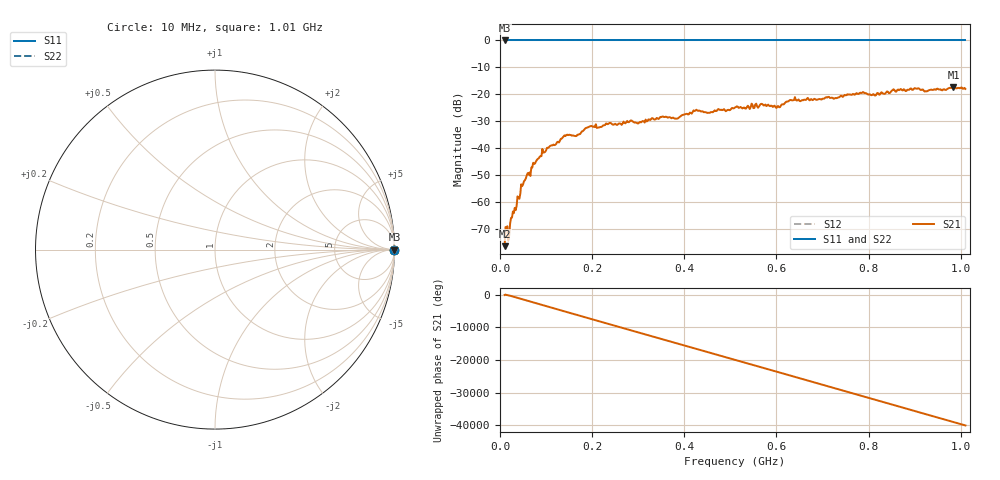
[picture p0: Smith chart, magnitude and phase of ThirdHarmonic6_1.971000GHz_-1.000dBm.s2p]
! 8/16/2025 11:42:51 PM
! C:\ANRITSUVNA\TEMP\TEMP.S2P
! CHANNEL.1
! TR.MEASUREMENT
! RAW.DATA
! RF.CORRECTION.OFF
! AVERAGING.OFF
! IF.BANDWIDTH: 5KHZ
! SWEEPTYPE:  FREQ.SWEEP(Linear)
! Reference Plane Port Info
! PORT:  PORT1  PORT2
! DISTANCE:  0  m  0  m
! TIME:  0  s  0  s
! PHASE.OFFSET:  0  deg.  0  deg.
! LOSS:  0  dB  0  dB
! REF.LOSS:  0  dB  0  dB
! REF.FREQ:  0  Hz  0  Hz
! Power Info
! POWER:  -20  dBm  -20  dBm
! EFF.POWER:  -20  dBm  -20  dBm
! SOURCE.ATTEN:  0  dB  0  dB
! TEST.ATTEN:  0  dB  0  dB
# GHZ S RI R 50.0
! FREQ.GHZ  S11RE  S11IM  S21RE  S21IM  S12RE  S12IM  S22RE  S22IM
!; PortSelection: Port_12
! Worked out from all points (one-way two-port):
!   501 points, 10 MHz to 1.01 GHz, reference 50 ohm
!   highest |S21| = -17.34 dB at 984 MHz (marker M1); lowest = -76.2 dB at 10 MHz (marker M2)
!   lowest |S11| = 0.0 dB at 10 MHz (marker M3)
!   |S11| at or under -10 dB: nowhere
!   |S22| runs from 0.0 to 0.0 dB; largest |S21 - S12| = 1.1
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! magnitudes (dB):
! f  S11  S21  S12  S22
! 10 MHz  0.0  -76.2  0.0  0.0
! 22 MHz  0.0  -67.8  0.0  0.0
! 26 MHz  0.0  -65.6  0.0  0.0
! 50 MHz  0.0  -53.4  0.0  0.0
! 76 MHz  0.0  -45.6  0.0  0.0
! 106 MHz  0.0  -39.5  0.0  0.0
! 140 MHz  0.0  -35.2  0.0  0.0
! 166 MHz  0.0  -35.4  0.0  0.0
! 178 MHz  0.0  -33.7  0.0  0.0
! 196 MHz  0.0  -31.8  0.0  0.0
! 344 MHz  0.0  -29.1  0.0  0.0
! 382 MHz  0.0  -28.9  0.0  0.0
! 424 MHz  0.0  -26.0  0.0  0.0
! 452 MHz  0.0  -26.8  0.0  0.0
! 510 MHz  0.0  -24.8  0.0  0.0
! 568 MHz  0.0  -23.5  0.0  0.0
! 604 MHz  0.0  -24.3  0.0  0.0
! 636 MHz  0.0  -22.2  0.0  0.0
! 678 MHz  0.0  -22.1  0.0  0.0
! 844 MHz  0.0  -19.5  0.0  0.0
! 984 MHz  0.0  -17.3  0.0  0.0
! 1.01 GHz  0.0  -17.9  0.0  0.0
